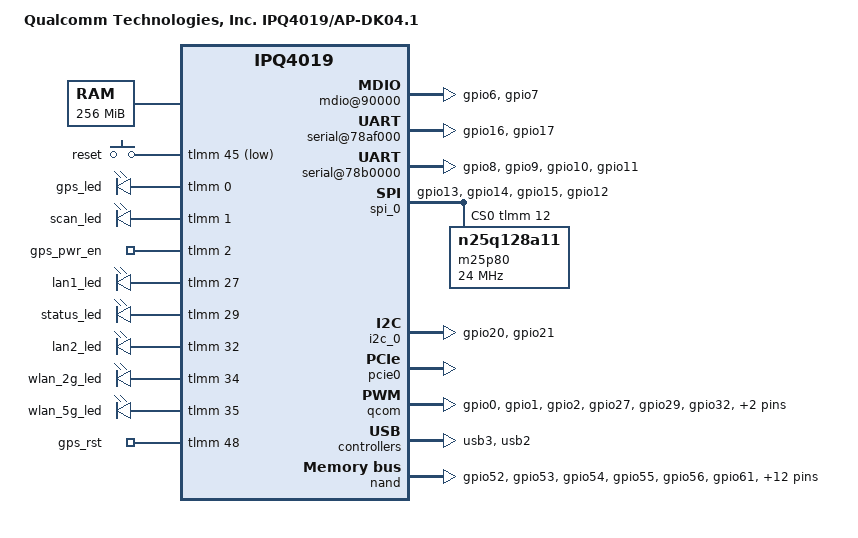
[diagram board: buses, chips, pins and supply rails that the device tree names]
/* Copyright (c) 2015 - 2016, The Linux Foundation. All rights reserved.
 *
 * Permission to use, copy, modify, and/or distribute this software for any
 * purpose with or without fee is hereby granted, provided that the above
 * copyright notice and this permission notice appear in all copies.
 *
 * THE SOFTWARE IS PROVIDED "AS IS" AND THE AUTHOR DISCLAIMS ALL WARRANTIES
 * WITH REGARD TO THIS SOFTWARE INCLUDING ALL IMPLIED WARRANTIES OF
 * MERCHANTABILITY AND FITNESS. IN NO EVENT SHALL THE AUTHOR BE LIABLE FOR
 * ANY SPECIAL, DIRECT, INDIRECT, OR CONSEQUENTIAL DAMAGES OR ANY DAMAGES
 * WHATSOEVER RESULTING FROM LOSS OF USE, DATA OR PROFITS, WHETHER IN AN
 * ACTION OF CONTRACT, NEGLIGENCE OR OTHER TORTIOUS ACTION, ARISING OUT OF
 * OR IN CONNECTION WITH THE USE OR PERFORMANCE OF THIS SOFTWARE.
 *
 */

#include "qcom-ipq4019.dtsi"
#include "qcom-ipq4019-mhi.dtsi"
#include <dt-bindings/input/input.h>
#include <dt-bindings/gpio/gpio.h>

/ {
	model = "Qualcomm Technologies, Inc. IPQ4019/AP-DK04.1";
	compatible = "qcom,ipq4019";

	memory {
		device_type = "memory";
		reg = <0x80000000 0x10000000>; /* 256MB */
	};

	reserved-memory {
		#address-cells = <1>;
		#size-cells = <1>;
		ranges;
		rsvd1@87000000 {
			/* Reserved for other subsystem */
			reg = <0x87000000 0x500000>;
			no-map;
		};
		wifi_dump@87500000 {
			reg = <0x87500000 0x600000>;
			no-map;
		};

		rsvd2@87B00000 {
			/* Reserved for other subsystem */
			reg = <0x87B00000 0x500000>;
			no-map;
		};
	};

	chosen {
		bootargs-append = " clk_ignore_unused";
	};

	soc {
		pinctrl@0x01000000 {
			serial_0_pins: serial0_pinmux {
				mux {
					pins = "gpio16", "gpio17";
					function = "blsp_uart0";
					bias-disable;
				};
			};

			led_0_pins: led0_pinmux {
				mux_1 {
					pins = "gpio0";
					function = "gpio";
					bias-pull-down;
				};
				mux_2 {
					pins = "gpio1";
					function = "gpio";
					bias-pull-down;
				};
				mux_3 {
					pins = "gpio2";
					function = "gpio";
					bias-pull-down;
				};
				mux_4 {
					pins = "gpio27";
					function = "gpio";
					bias-pull-down;
				};
				mux_5 {
					pins = "gpio29";
					function = "gpio";
					bias-pull-down;
				};
				mux_6 {
					pins = "gpio32";
					function = "gpio";
					bias-pull-down;
				};
				mux_7 {
					pins = "gpio34";
					function = "gpio";
					bias-pull-down;
				};
				mux_8 {
					pins = "gpio35";
					function = "gpio";
					bias-pull-down;
				};
			};

			serial_1_pins: serial1_pinmux {
				mux {
					pins = "gpio8", "gpio9",
						"gpio10", "gpio11";
					function = "blsp_uart1";
					bias-disable;
				};
			};

			spi_0_pins: spi_0_pinmux {
				pinmux {
					function = "blsp_spi0";
					pins = "gpio13", "gpio14", "gpio15";
					bias-disable;
				};
				pinmux_cs {
					function = "gpio";
					pins = "gpio12";
					bias-disable;
					output-high;
				};
			};

			i2c_0_pins: i2c_0_pinmux {
				mux {
					pins = "gpio20", "gpio21";
					function = "blsp_i2c0";
					bias-disable;
				};
			};

			ts_0_pins: ts_0_pinmux {
				mux_1 {
					pins = "gpio34";
					output-high;
				};
				mux_2 {
					pins= "gpio35";
					input-enable;
					bias-pull-up;
				};
			};

			mdio_pins: mdio_pinmux {
				mux_1 {
					pins = "gpio6";
					function = "mdio0";
					bias-pull-up;
				};
				mux_2 {
					pins = "gpio7";
					function = "mdc";
					bias-pull-up;
				};
			};

			nand_pins: nand_pins {

				mux_1 {
					pins = "gpio52", "gpio53", "gpio54",
						"gpio55", "gpio56", "gpio61",
						"gpio62", "gpio63", "gpio69";
					function = "qpic_pad";
					bias-disable;
				};

				mux_2 {
					pins = "gpio67";
					function = "qpic_pad0";
					bias-disable;
				};

				mux_3 {
					pins = "gpio64";
					function = "qpic_pad1";
					bias-disable;
				};

				mux_4 {
					pins = "gpio65";
					function = "qpic_pad2";
					bias-disable;
				};

				mux_5 {
					pins = "gpio66";
					function = "qpic_pad3";
					bias-disable;
				};

				mux_6 {
					pins = "gpio57";
					function = "qpic_pad4";
					bias-disable;
				};

				mux_7 {
					pins = "gpio58";
					function = "qpic_pad5";
					bias-disable;
				};

				mux_8 {
					pins = "gpio59";
					function = "qpic_pad6";
					bias-disable;
				};

				mux_9 {
					pins = "gpio60";
					function = "qpic_pad7";
					bias-disable;
				};

				mux_10 {
					pins = "gpio68";
					function = "qpic_pad8";
					bias-disable;
				};

				pullups {
					pins = "gpio52", "gpio53", "gpio58",
						"gpio59";
					bias-pull-up;
				};

				pulldowns {
					pins = "gpio54", "gpio55", "gpio56",
						"gpio57", "gpio60", "gpio61",
						"gpio62", "gpio63", "gpio64",
						"gpio65", "gpio66", "gpio67",
						"gpio68", "gpio69";
					bias-pull-down;
				};
			};
		};

		mdio@90000 {
			status = "ok";
			pinctrl-0 = <&mdio_pins>;
			pinctrl-names = "default";
			phy-reset-gpio = <&tlmm 47 0>;
			bias-disable;
		};

		serial@78af000 {
			pinctrl-0 = <&serial_0_pins>;
			pinctrl-names = "default";
			status = "ok";
		};

		serial@78b0000 {
			pinctrl-0 = <&serial_1_pins>;
			pinctrl-names = "default";
			status = "ok";
		};

		spi_0: spi@78b5000 { /* BLSP1 QUP1 */
			pinctrl-0 = <&spi_0_pins>;
			pinctrl-names = "default";
			status = "ok";
			cs-gpios = <&tlmm 12 0>;

			m25p80@0 {
				#address-cells = <1>;
				#size-cells = <1>;
				reg = <0>;
				compatible = "n25q128a11";
				linux,modalias = "m25p80", "n25q128a11";
				spi-max-frequency = <24000000>;
				use-default-sizes;
			};
		};

		i2c_0: i2c@78b7000 { /* BLSP1 QUP2 */
			pinctrl-0 = <&i2c_0_pins>;
			pinctrl-names = "default";
			status = "ok";

			lcd_ts: lcd_ts@40 {
				compatible = "qca,gsl1680_ts";
				reg = <0x40>;
				status = "disabled";
			};
		};

		pcie0: pci@40000000 {
			status = "ok";
			perst-gpio = <&tlmm 38 0x1>;
		};

		qcom: ledc@1937000  {
			status = "ok";
			pinctrl-0 = <&led_0_pins>;
			pinctrl-names = "default";
		};

		ess-switch@c000000 {
			switch_mac_mode = <0x0>; /* mac mode for RGMII RMII */
			switch_initvlas = <
				0x0007c 0x54 /* PORT0_STATUS */
			>;
			led_source@0 {
				led = <0x3>;     /*led number */
				source = <0x1>;  /*source id 1 */
				mode = "normal"; /*on,off,blink,normal */
				speed = "all";   /*10M,100M,1000M,all */
				freq = "auto";   /*2Hz,4Hz,8Hz,auto*/
			};
			led_source@1 {
				led = <0x4>;     /*led number */
				source = <0x4>;  /*source id 4 */
				mode = "normal"; /*on,off,blink,normal */
				speed = "all";   /*10M,100M,1000M,all */
				freq = "auto";   /*2Hz,4Hz,8Hz,auto*/
			};
			led_source@2 {
				led = <0x5>;     /*led number */
				source = <0x7>;  /*source id 7 */
				mode = "normal"; /*on,off,blink,normal */
				speed = "all";   /*10M,100M,1000M,all */
				freq = "auto";   /*2Hz,4Hz,8Hz,auto*/
			};
			led_source@3 {
				led = <0x6>;     /*led number */
				source = <0xa>;  /*source id 10 */
				mode = "normal"; /*on,off,blink,normal */
				speed = "all";   /*10M,100M,1000M,all */
				freq = "auto";   /*2Hz,4Hz,8Hz,auto*/
			};
			led_source@4 {
				led = <0x7>;     /*led number */
				source = <0xd>;  /*source id 13 */
				mode = "normal"; /*on,off,blink,normal */
				speed = "all";   /*10M,100M,1000M,all */
				freq = "auto";   /*2Hz,4Hz,8Hz,auto*/
			};
		};

		vccq_sd0: regulator@0 {
			compatible = "qcom,regulator-ipq40xx";
			regulator-name = "SD0 VccQ";
			regulator-min-microvolt = <1800000>;
			regulator-max-microvolt = <3000000>;
			states = <3000000 0x3
				1800000 0x1>;
			reg = <0x01948000 0x4>;
			mask = <0x3>;
		};


		tcsr: tcsr@194b000 {
			status = "ok";
		};

		usb3_ss_phy: ssphy@0 {
			status = "ok";
		};

		usb3_hs_phy: hsphy@a6000 {
			status = "ok";
		};

		usb2_hs_phy: hsphy@a8000 {
			status = "ok";
		};

		usb3: usb3@8a00000 {
			status = "ok";
		};

		usb2: usb2@6000000 {
			status = "ok";
		};

		qpic_bam: dma@7984000{
			status = "ok";
		};

		nand: qpic-nand@79b0000 {
			pinctrl-0 = <&nand_pins>;
			pinctrl-names = "default";
			status = "ok";
		};

		gpio_keys {
			compatible = "gpio-keys";

			button@45 {
				label = "reset";
				linux,code = <KEY_RESTART>;
				gpios = <&tlmm 45 GPIO_ACTIVE_LOW>;
				linux,input-type = <1>;
			};
		};

		leds {
			compatible = "gpio-leds";

			led@0 {
				label = "gps_led";
				gpios = <&tlmm 0 GPIO_ACTIVE_HIGH>;
				default-state = "off";
			};

			led@1 {
				label = "scan_led";
				gpios = <&tlmm 1 GPIO_ACTIVE_HIGH>;
				default-state = "off";
			};

			led@2 {
				label = "gps_pwr_en";
				gpios = <&tlmm 2 GPIO_ACTIVE_HIGH>;
				default-state = "off";
			};

			led@27 {
				label = "lan1_led";
				gpios = <&tlmm 27 GPIO_ACTIVE_HIGH>;
				default-state = "off";
			};

			led@29 {
				label = "status_led";
				gpios = <&tlmm 29 GPIO_ACTIVE_HIGH>;
				default-state = "on";
			};

			led@32 {
				label = "lan2_led";
				gpios = <&tlmm 32 GPIO_ACTIVE_HIGH>;
				default-state = "off";
			};

			led@34 {
				label = "wlan_2g_led";
				gpios = <&tlmm 34 GPIO_ACTIVE_HIGH>;
				default-state = "off";
			};

			led@35 {
				label = "wlan_5g_led";
				gpios = <&tlmm 35 GPIO_ACTIVE_HIGH>;
				default-state = "off";
			};

			led@48 {
				label = "gps_rst";
				gpios = <&tlmm 48 GPIO_ACTIVE_HIGH>;
				default-state = "off";
			};

		};

		wifi0: wifi@a000000 {
			wifi_led_num = <2>;         /* Wifi 2G */
			wifi_led_source = <0>;      /* source id 0 */
		};

		wifi1: wifi@a800000 {
			wifi_led_num = <1>;         /* Wifi 5G */
			wifi_led_source = <2>;      /* source id 2 */
		};

		qcom_mdss_qpic@7980000 {
			status = "ok";
		};

		qcom_mdss_qpic_panel {
			status = "ok";
		};
	};
};
